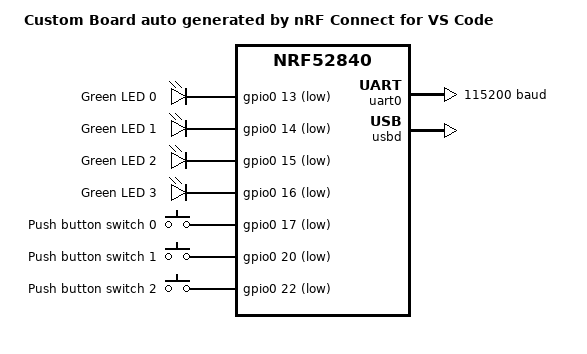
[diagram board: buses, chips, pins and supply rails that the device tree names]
/dts-v1/;
#include <nordic/nrf52840_qiaa.dtsi>
#include "nicenanov2-pinctrl.dtsi"

/ {
	model = "Custom Board auto generated by nRF Connect for VS Code";
	compatible = "hkh,nicenanov2";

	chosen {
		zephyr,sram = &sram0;
		zephyr,console = &uart0;
		zephyr,flash = &flash0;
		zephyr,code-partition = &app_partition;
		zephyr,usb-device = &usbd;
	};

	leds {
		compatible = "gpio-leds";
		led0: led_0 {
			gpios = <&gpio0 13 GPIO_ACTIVE_LOW>;
			label = "Green LED 0";
		};
		led1: led_1 {
			gpios = <&gpio0 14 GPIO_ACTIVE_LOW>;
			label = "Green LED 1";
		};
		led2: led_2 {
			gpios = <&gpio0 15 GPIO_ACTIVE_LOW>;
			label = "Green LED 2";
		};
		led3: led_3 {
			gpios = <&gpio0 16 GPIO_ACTIVE_LOW>;
			label = "Green LED 3";
		};
	};
	buttons {
		compatible = "gpio-keys";
		button0: button_0 {
			gpios = <&gpio0 17 (GPIO_PULL_UP | GPIO_ACTIVE_LOW)>;
			label = "Push button switch 0";
			zephyr,code = <INPUT_KEY_0>;
		};
		button1: button_1 {
			gpios = <&gpio0 20 (GPIO_PULL_UP | GPIO_ACTIVE_LOW)>;
			label = "Push button switch 1";
			zephyr,code = <INPUT_KEY_1>;
		};
		button2: button_2 {
			gpios = <&gpio0 22 (GPIO_PULL_UP | GPIO_ACTIVE_LOW)>;
			label = "Push button switch 2";
			zephyr,code = <INPUT_KEY_2>;
		};
	};

	
	/* These aliases are provided for compatibility with samples */
	aliases {
		led0 = &led0;
		led1 = &led1;
		led2 = &led2;
		led3 = &led3;
		// pwm-led0 = &pwm_led0;
		sw0 = &button0;
		sw1 = &button1;
		sw2 = &button2;
		bootloader-led0 = &led0;
		mcuboot-button0 = &button0;
		mcuboot-led0 = &led0;
		watchdog0 = &wdt0;
	};
};

&flash0 {
    partitions {
        compatible = "fixed-partitions";
        #address-cells = <1>;
        #size-cells = <1>;

        app_partition: partition@0 {
            label = "application";
            reg = <0x00000000 0x000D3000>; /* 0xE3000 - 0x1000 = 926KB */
        };

        storage_partition: partition@d3000 {
            label = "storage";
            reg = <0x000D3000 0x00010000>; /* 64KB, BLE 데이터 저장용 */
        };

        dfu_data_partition: partition@e3000 {
            label = "dfu-data";
            reg = <0x000E3000 0x0000A000>; /* 40KB, 예약 */
        };

        bootloader_partition: partition@f4000 {
            label = "bootloader";
            reg = <0x000F4000 0x0000A000>; /* 38KB + 2KB */
        };

        mbr_params_partition: partition@fe000 {
            label = "mbr-params";
            reg = <0x000FE000 0x00001000>; /* 4KB */
        };

        bootloader_settings_partition: partition@ff000 {
            label = "bootloader-settings";
            reg = <0x000FF000 0x00001000>; /* 4KB */
        };
    };
};



&gpiote {
	status = "okay";
};

&gpio0 {
	status = "okay";
};

&gpio1 {
	status = "okay";
};

&uart0 {
	compatible = "nordic,nrf-uarte";
	status = "okay";
	current-speed = <115200>;
	pinctrl-0 = <&uart0_default>;
	pinctrl-1 = <&uart0_sleep>;
	pinctrl-names = "default", "sleep";
};

&usbd {
    status = "okay";


	cdc_acm_uart0: cdc_acm_uart0{
		compatible = "zephyr,cdc-acm-uart";
		label = "CDC_ACM_UART_0";
	};
};

